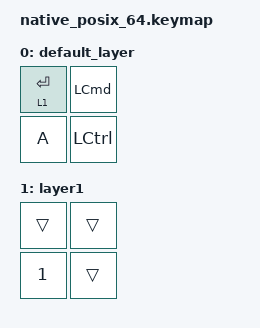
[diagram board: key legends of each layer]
/*
 * 右親指 Enter (config/KobitoKey.keymap の lt_r) の挙動を固定する。
 *
 * lt_r は lt_l と同じパラメータだが retro-tap を「付けない」。Layer 2/3 に
 * 入ろうとして思い直しただけで Enter が飛ぶ実害を避けるための判断で、
 * 誰かが対称性を理由に retro-tap を足すのを防ぐのがこのテストの役割。
 *
 * キー位置 (2x2 mock kscan, position = row*2 + col):
 *   0 = lt_r 1 RET     1 = LCMD
 *   2 = A / Layer 1 で N1
 *   3 = LCTRL
 */

#include <dt-bindings/zmk/keys.h>
#include <behaviors.dtsi>
#include <dt-bindings/zmk/kscan_mock.h>

/ {
    behaviors {
        /* config/KobitoKey.keymap の lt_r と同一パラメータに保つこと。
         * 乖離は scripts/doctor.sh が検出する。 */
        lt_r: lt_right_thumb {
            compatible = "zmk,behavior-hold-tap";
            #binding-cells = <2>;
            flavor = "hold-preferred";
            tapping-term-ms = <180>;
            quick-tap-ms = <125>;
            require-prior-idle-ms = <90>;
            bindings = <&mo>, <&kp>;
        };
    };

    keymap {
        compatible = "zmk,keymap";

        default_layer {
            bindings = <
                &lt_r 1 RET  &kp LCMD
                &kp A        &kp LCTRL>;
        };

        layer1 {
            bindings = <
                &trans   &trans
                &kp N1   &trans>;
        };
    };
};

&kscan {
    events = <
        /* A: 短いタップ -> RET (従来どおり) */
        ZMK_MOCK_PRESS(0,0,10)
        ZMK_MOCK_RELEASE(0,0,400)

        /* B: 単独長押しのまま離す -> retro-tap が無いので「何も出ない」。
         *    ここで RET が出るようになったら lt_r に retro-tap が
         *    付いた (= 意図しない変更) というシグナル。 */
        ZMK_MOCK_PRESS(0,0,400)
        ZMK_MOCK_RELEASE(0,0,400)

        /* C: 長押し + 他キー -> Layer 1 が発動し N1 が出る */
        ZMK_MOCK_PRESS(0,0,400)
        ZMK_MOCK_PRESS(1,0,10)
        ZMK_MOCK_RELEASE(1,0,10)
        ZMK_MOCK_RELEASE(0,0,10)
    >;
};
